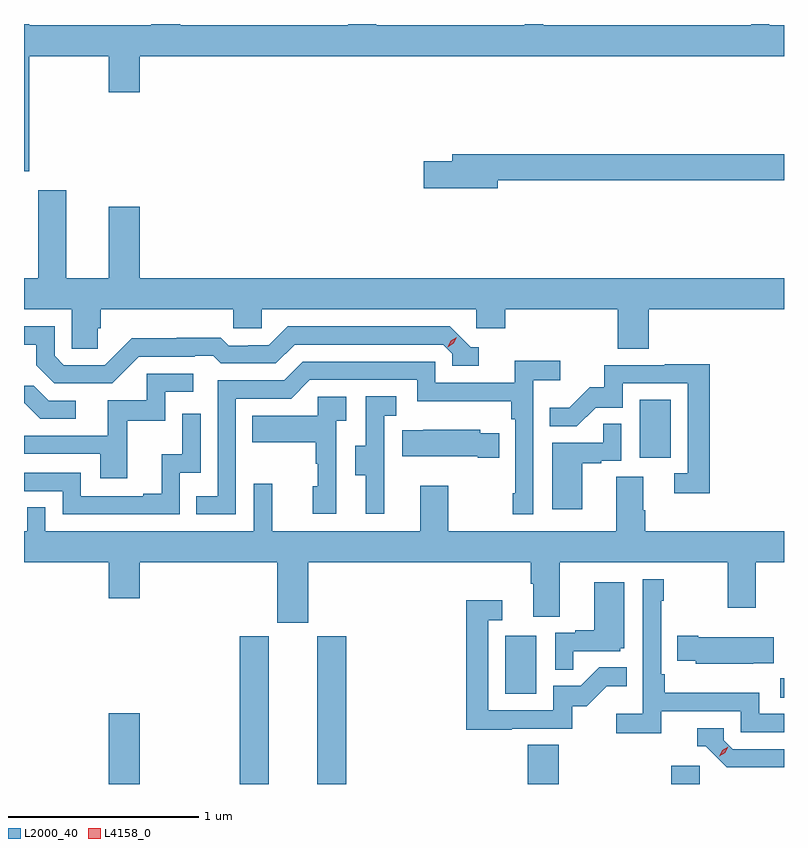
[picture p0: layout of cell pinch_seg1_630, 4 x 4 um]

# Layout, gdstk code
import gdstk
lib = gdstk.Library(unit=1e-6, precision=1e-09)
def R(c, l, rs):  # rectangles x0, y0, x1, y1
    for r in rs: c.add(gdstk.rectangle(r[:2], r[2:], *l))
def P(c, l, *ps):  # polygons
    for p in ps: c.add(gdstk.Polygon(p, *l))
L2000_40 = (2000, 40)
L4158_0 = (4158, 0)

pinch_seg1_630 = lib.new_cell('pinch_seg1_630')
R(pinch_seg1_630, L2000_40, [(1100.072,509.274,1100.236,509.647), (1100.762,509.274,1100.914,510.051), (1101.17,509.274,1101.323,510.051), (1102.277,509.274,1102.442,509.48), (1103.033,509.274,1103.184,509.37), (1103.607,509.728,1103.627,509.831), (1102.16,509.748,1102.324,510.055), (1102.868,510.99,1103.032,511.297)])
P(pinch_seg1_630, L2000_40, [(1099.654,513.104),(1100.072,513.104),(1100.072,512.916),(1100.236,512.916),(1100.236,513.104),(1103.627,513.104),(1103.627,513.268),(1103.55,513.268),(1103.55,513.274),(1103.454,513.274),(1103.454,513.268),(1102.359,513.268),(1102.359,513.274),(1102.262,513.274),(1102.262,513.268),(1101.481,513.268),(1101.481,513.274),(1101.334,513.274),(1101.334,513.268),(1100.449,513.268),(1100.449,513.274),(1100.297,513.274),(1100.297,513.268),(1099.654,513.268),(1099.654,513.274),(1099.627,513.274),(1099.627,512.498),(1099.654,512.498)],
  [(1102.12,512.452),(1103.627,512.452),(1103.627,512.588),(1101.881,512.588),(1101.881,512.552),(1101.732,512.552),(1101.732,512.41),(1102.12,512.41)],
  [(1100.015,511.674),(1100.03,511.674),(1100.03,511.772),(1100.727,511.772),(1100.727,511.674),(1100.877,511.674),(1100.877,511.772),(1102.008,511.772),(1102.008,511.674),(1102.16,511.674),(1102.16,511.772),(1102.751,511.772),(1102.751,511.564),(1102.916,511.564),(1102.916,511.772),(1103.627,511.772),(1103.627,511.936),(1100.236,511.936),(1100.236,512.311),(1100.072,512.311),(1100.072,511.936),(1099.849,511.936),(1099.849,512.398),(1099.702,512.398),(1099.702,511.936),(1099.627,511.936),(1099.627,511.772),(1099.878,511.772),(1099.878,511.564),(1100.015,511.564)],
  [(1100.232,511.524),(1100.525,511.524),(1100.525,511.527),(1100.624,511.527),(1100.663,511.488),(1100.952,511.488),(1101.051,511.587),(1101.834,511.587),(1101.882,511.539),(1101.882,511.476),(1102.021,511.476),(1102.021,511.572),(1101.978,511.572),(1101.867,511.683),(1101.014,511.683),(1100.915,511.584),(1100.808,511.584),(1100.808,511.581),(1100.705,511.581),(1100.663,511.624),(1100.43,511.624),(1100.43,511.621),(1100.194,511.621),(1100.052,511.479),(1099.836,511.479),(1099.788,511.527),(1099.788,511.683),(1099.627,511.683),(1099.627,511.587),(1099.691,511.587),(1099.691,511.477),(1099.785,511.383),(1100.091,511.383)],
  [(1100.742,511.302),(1101.033,511.302),(1101.132,511.401),(1101.696,511.401),(1101.696,511.289),(1102.192,511.289),(1102.192,511.193),(1102.212,511.193),(1102.212,510.805),(1102.2,510.805),(1102.2,510.693),(1102.308,510.693),(1102.308,511.4),(1102.45,511.4),(1102.45,511.502),(1102.211,511.502),(1102.211,511.386),(1101.792,511.386),(1101.792,511.497),(1101.095,511.497),(1100.996,511.398),(1100.646,511.398),(1100.646,510.789),(1100.533,510.789),(1100.533,510.693),(1100.742,510.693)],
  [(1103.237,511.484),(1102.999,511.484),(1102.999,511.479),(1102.681,511.479),(1102.681,511.362),(1102.604,511.362),(1102.497,511.255),(1102.393,511.255),(1102.393,511.156),(1102.537,511.156),(1102.635,511.254),(1102.779,511.254),(1102.779,511.383),(1103.121,511.383),(1103.121,510.909),(1103.049,510.909),(1103.049,510.804),(1103.237,510.804)],
  [(1100.171,511.185),(1100.37,511.185),(1100.37,511.338),(1100.518,511.338),(1100.518,511.434),(1100.274,511.434),(1100.274,511.293),(1100.069,511.293),(1100.069,511.107),(1099.627,511.107),(1099.627,511.011),(1100.027,511.011),(1100.027,510.882),(1100.171,510.882)],
  [(1099.9,511.29),(1099.758,511.29),(1099.678,511.37),(1099.627,511.37),(1099.627,511.278),(1099.631,511.278),(1099.712,511.197),(1099.9,511.197)],
  [(1101.524,510.909),(1101.522,510.909),(1101.522,511.213),(1101.586,511.213),(1101.586,511.316),(1101.426,511.316),(1101.426,511.053),(1101.371,511.053),(1101.371,510.898),(1101.425,510.898),(1101.425,510.696),(1101.524,510.696)],
  [(1101.27,511.187),(1101.322,511.187),(1101.322,511.311),(1101.174,511.311),(1101.174,511.213),(1100.827,511.213),(1100.827,511.073),(1101.162,511.073),(1101.162,510.959),(1101.172,510.959),(1101.172,510.84),(1101.146,510.84),(1101.146,510.696),(1101.27,510.696)],
  [(1100.448,510.912),(1100.556,510.912),(1100.556,511.222),(1100.46,511.222),(1100.46,511.01),(1100.351,511.01),(1100.351,510.802),(1100.255,510.802),(1100.255,510.789),(1099.926,510.789),(1099.926,510.912),(1099.627,510.912),(1099.627,510.816),(1099.83,510.816),(1099.83,510.693),(1100.448,510.693)],
  [(1102.564,510.963),(1102.664,510.963),(1102.664,510.975),(1102.77,510.975),(1102.77,511.169),(1102.675,511.169),(1102.675,511.071),(1102.406,511.071),(1102.406,510.72),(1102.564,510.72)],
  [(1102.127,511.12),(1102.029,511.12),(1102.029,511.138),(1101.727,511.138),(1101.727,511.135),(1101.619,511.135),(1101.619,510.998),(1102.016,510.998),(1102.016,510.991),(1102.127,510.991)],
  [(1100.835,510.853),(1100.835,510.604),(1099.74,510.604),(1099.74,510.731),(1099.644,510.731),(1099.644,510.604),(1099.627,510.604),(1099.627,510.44),(1100.072,510.44),(1100.072,510.252),(1100.236,510.252),(1100.236,510.44),(1100.96,510.44),(1100.96,510.123),(1101.124,510.123),(1101.124,510.44),(1102.295,510.44),(1102.295,510.328),(1102.307,510.328),(1102.307,510.154),(1102.447,510.154),(1102.447,510.44),(1103.332,510.44),(1103.332,510.201),(1103.479,510.201),(1103.479,510.44),(1103.627,510.44),(1103.627,510.604),(1102.898,510.604),(1102.898,510.716),(1102.885,510.716),(1102.885,510.89),(1102.745,510.89),(1102.745,510.604),(1101.861,510.604),(1101.861,510.844),(1101.713,510.844),(1101.713,510.604),(1100.933,510.604),(1100.933,510.853)],
  [(1102.982,509.658),(1103.4,509.658),(1103.4,509.547),(1103.627,509.547),(1103.627,509.643),(1103.496,509.643),(1103.496,509.755),(1103,509.755),(1103,509.851),(1102.98,509.851),(1102.98,510.239),(1102.993,510.239),(1102.993,510.352),(1102.884,510.352),(1102.884,509.644),(1102.743,509.644),(1102.743,509.542),(1102.982,509.542)],
  [(1102.517,509.973),(1102.764,509.973),(1102.764,509.988),(1102.786,509.988),(1102.786,510.337),(1102.628,510.337),(1102.628,510.082),(1102.529,510.082),(1102.529,510.069),(1102.422,510.069),(1102.422,509.875),(1102.517,509.875)],
  [(1102.193,509.565),(1102.512,509.565),(1102.512,509.682),(1102.588,509.682),(1102.695,509.789),(1102.799,509.789),(1102.799,509.888),(1102.655,509.888),(1102.557,509.79),(1102.413,509.79),(1102.413,509.661),(1102.071,509.661),(1102.071,510.135),(1102.144,510.135),(1102.144,510.241),(1101.955,510.241),(1101.955,509.56),(1102.193,509.56)],
  [(1103.465,509.909),(1103.573,509.909),(1103.573,510.046),(1103.176,510.046),(1103.176,510.054),(1103.065,510.054),(1103.065,509.924),(1103.163,509.924),(1103.163,509.906),(1103.465,509.906)],
  [(1103.627,509.457),(1103.358,509.457),(1103.31,509.505),(1103.31,509.568),(1103.171,509.568),(1103.171,509.472),(1103.214,509.472),(1103.325,509.361),(1103.627,509.361)])
P(pinch_seg1_630, L4158_0, [(1101.857,511.574),(1101.857,511.574),(1101.874,511.606),(1101.904,511.625),(1101.905,511.625),(1101.905,511.625),(1101.888,511.593),(1101.858,511.574)],
  [(1103.287,509.419),(1103.287,509.419),(1103.303,509.451),(1103.334,509.471),(1103.334,509.471),(1103.334,509.47),(1103.318,509.438),(1103.287,509.419)])

lib.write_gds('pinch_seg1_630.gds')
